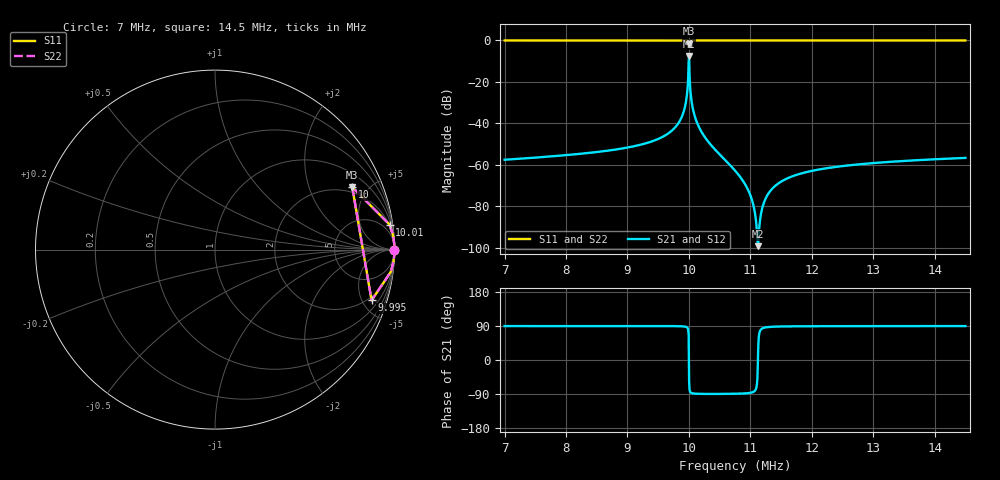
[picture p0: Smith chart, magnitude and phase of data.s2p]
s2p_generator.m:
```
%MEMS Resonator s2p generator
%Luca Colombo (l.colombo@northeastern.edu) - 08/02/2021

%Preconditioning
clear all
close all
clc

%Design parameters
fs = 10e6;                  %Center frequency [Hz]
Qs = 10000;                 %Quality factor
kt2 = 0.3;                  %EM coupling
Cload = 200e-15;            %ED input capacitance [F]
Rload = 1e6;                %ED input resistance [Ohm]
C0 = Cload;                 %Resonator static capacitance [F]
Cp = 15e-15;                %Capacitive parasitic to ground [F] 
Rp = 1e6;                   %Resistive parasitic to ground [Ohm]
Cf = 5e-15;                 %Feedthrough capacitance [F]
Rf = 10e6;                  %Feedthrough parallel resistance [Ohm]

%Port and simulations parameters
Zin = 50;                                   %Source impedance [Ohm]
fStart = 0.7*fs;                            %Starting frequency [Hz]
fEnd = 1.45*fs;                              %Ending frequency [Hz]
nPoints = 1000;                             %Number of simulated points
freq = linspace(fStart, fEnd, nPoints);     %Frequency vector [Hz]
om = 2*pi*freq;                             %Angular frequency [rad/s]

%Resonator model
Rm = pi^2/8*1/(2*pi*fs*Qs*kt2*C0);          %Motional resistance [Ohm]
Lm = pi^2/8*1/((2*pi*fs)^2*kt2*C0);         %Motional inductance [H]
Cm = 8/(pi^2)*kt2*C0;                       %Motional capacitance [F]

%Building BVD model
%cfr. Piazza Piezoelectric Resonator book for more explanations

Y = 1i*om*C0 + 1./(Rm + 1i*om*Lm + 1./(1i*om*Cm));

figure(1)
plot(freq/1e6, 20*log10(abs(Y)), 'LineWidth', 3)
grid on
xlabel('Frequency, {\itf} [MHz]')
ylabel('Admittance, {\itY} [dB]')
set(gcf,'color','white')
set(gca,'fontSize',13)

%Adding parasitics
Yf = 1i*om*Cf + 1./(Rf);                    %Feedthrough admittance [S]
Yp = 1i*om*Cp + 1./(Rp);                    %Parasitic-to-ground admittance [S]

Y11 = Y + Yf + Yp; 
Y22 = Y11;
Y12 = -(Y + Yf);
Y21 = Y12;

%Tabulate Y-parameters
Y_param(1,1,:) = Y11;
Y_param(1,2,:) = Y12;
Y_param(2,1,:) = Y21;
Y_param(2,2,:) = Y22;

%Generate S-parameters
S_param = y2s(Y_param, Zin);

%Write Touchstone file
rfwrite(S_param, freq, 'data.s2p');
```
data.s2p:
# GHz S MA R 50
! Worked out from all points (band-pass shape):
!   1000 points, 7 MHz to 14.5 MHz, reference 50 ohm
!   highest |S21| = -7.52 dB at 10 MHz (marker M1); lowest = -99.3 dB at 11.12 MHz (marker M2)
!   |S21| within 3 dB of the highest: 9.995155 MHz to 10.00538 MHz (10.23 kHz wide, 0.102 % of centre)
!   lowest |S11| = -1.5 dB at 10 MHz (marker M3), VSWR 11.53, Z = 83 + j197 ohm
!   |S11| at or under -10 dB: nowhere
!   |S22| runs from -1.5 to 0.0 dB; largest |S21 - S12| = 1.7e-16
!   S11 on the Smith chart (normalised r, x): 7 MHz: open; 9.995 MHz: 1.65, -5.87; 10 MHz: 1.66, +3.94; 10.01 MHz: 2, +14; 14.5 MHz: open
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0.007  0.9999 -0.1  0.001321 89.5  0.001321 89.5  0.9999 -0.1
0.009477477  0.9999 -0.2  0.004066 89.6  0.004066 89.6  0.9999 -0.2
0.009845345  0.9998 -0.6  0.01107 89.1  0.01107 89.1  0.9998 -0.6
0.009995495  0.9171 -18.0  0.3103 65.7  0.3103 65.7  0.9171 -18.0
0.010003  0.8404 24.5  0.4208 -56.0  0.4208 -56.0  0.8404 24.5
0.01001051  0.9831 8.1  0.1416 -79.1  0.1416 -79.1  0.9831 8.1
0.01018318  0.9998 0.4  0.007104 -89.3  0.007104 -89.3  0.9998 0.4
0.01075375  0.9999 0.0  0.0007155 -89.0  0.0007155 -89.0  0.9999 0.0
0.01112162  0.9999 -0.0  1.086e-05 -10.8  1.086e-05 -10.8  0.9999 -0.0
0.01193994  0.9999 -0.0  0.0006807 89.1  0.0006807 89.1  0.9999 -0.0
0.0145  0.9999 -0.1  0.001466 89.5  0.001466 89.5  0.9999 -0.1
